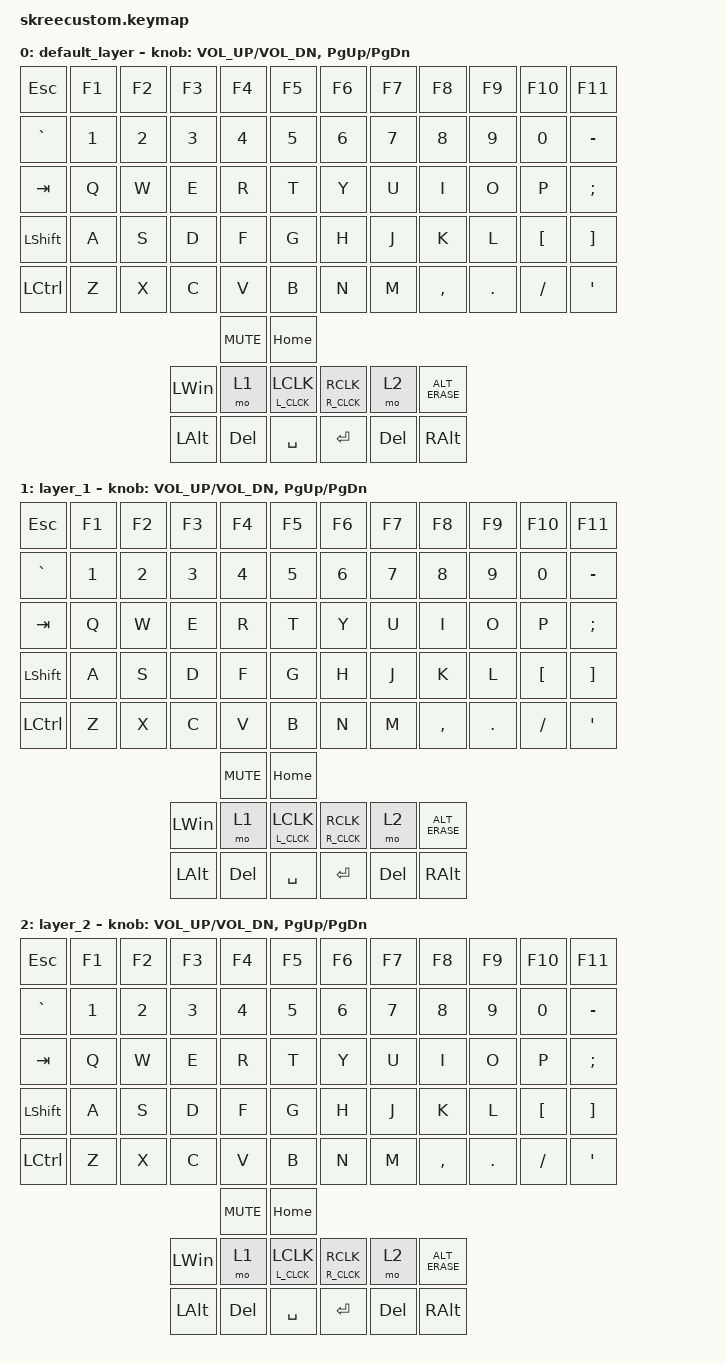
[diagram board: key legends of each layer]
/*
 * Copyright (c) 2020 The ZMK Contributors
 *
 * SPDX-License-Identifier: MIT
 */
//#include <behaviors/mouse_keys.dtsi>

#include <behaviors.dtsi>
#include <dt-bindings/zmk/keys.h>

/ {
    macros {
        MB1: MB1 {
            compatible = "zmk,behavior-macro";
            #binding-cells = <0>;
            bindings = <&L_CLCK LCLK>;
            label = "MB1";
        };

        RCLCK: RCLCK {
            compatible = "zmk,behavior-macro";
            #binding-cells = <0>;
            bindings = <&R_CLCK RCLK>;
            label = "RCLCK";
        };
    };

    behaviors {
        L_CLCK: L_CLCK {
            compatible = "zmk,behavior-mouse-key-press";
            label = "L_CLCK";
            #binding-cells = <1>;
        };

        R_CLCK: R_CLCK {
            compatible = "zmk,behavior-mouse-key-press";
            label = "R_CLCK";
            #binding-cells = <1>;
        };
    };

    keymap {
        compatible = "zmk,keymap";

        default_layer {
            bindings = <
&kp ESCAPE  &kp F1  &kp F2  &kp F3        &kp F4      &kp F5          &kp F6        &kp F7      &kp F8         &kp F9   &kp F10           &kp F11
&kp GRAVE   &kp N1  &kp N2  &kp N3        &kp N4      &kp N5          &kp N6        &kp N7      &kp N8         &kp N9   &kp N0            &kp MINUS
&kp TAB     &kp Q   &kp W   &kp E         &kp R       &kp T           &kp Y         &kp U       &kp I          &kp O    &kp P             &kp SEMICOLON
&kp LSHFT   &kp A   &kp S   &kp D         &kp F       &kp G           &kp H         &kp J       &kp K          &kp L    &kp LEFT_BRACKET  &kp RIGHT_BRACKET
&kp LCTRL   &kp Z   &kp X   &kp C         &kp V       &kp B           &kp N         &kp M       &kp COMMA      &kp DOT  &kp FSLH          &kp APOSTROPHE
                                          &kp C_MUTE  &kp HOME
                            &kp LEFT_WIN  &mo 1       &L_CLCK LCLK    &R_CLCK RCLK  &mo 2       &kp ALT_ERASE
                            &kp LEFT_ALT  &kp DELETE  &kp SPACE       &kp ENTER     &kp DELETE  &kp RIGHT_ALT
            >;

            sensor-bindings = <&inc_dec_kp C_VOL_UP C_VOL_DN &inc_dec_kp PG_UP PG_DN>;
        };

        layer_1 {
            bindings = <
&kp ESCAPE  &kp F1  &kp F2  &kp F3        &kp F4      &kp F5          &kp F6        &kp F7      &kp F8         &kp F9   &kp F10           &kp F11
&kp GRAVE   &kp N1  &kp N2  &kp N3        &kp N4      &kp N5          &kp N6        &kp N7      &kp N8         &kp N9   &kp N0            &kp MINUS
&kp TAB     &kp Q   &kp W   &kp E         &kp R       &kp T           &kp Y         &kp U       &kp I          &kp O    &kp P             &kp SEMICOLON
&kp LSHFT   &kp A   &kp S   &kp D         &kp F       &kp G           &kp H         &kp J       &kp K          &kp L    &kp LEFT_BRACKET  &kp RIGHT_BRACKET
&kp LCTRL   &kp Z   &kp X   &kp C         &kp V       &kp B           &kp N         &kp M       &kp COMMA      &kp DOT  &kp FSLH          &kp APOSTROPHE
                                          &kp C_MUTE  &kp HOME
                            &kp LEFT_WIN  &mo 1       &L_CLCK LCLK    &R_CLCK RCLK  &mo 2       &kp ALT_ERASE
                            &kp LEFT_ALT  &kp DELETE  &kp SPACE       &kp ENTER     &kp DELETE  &kp RIGHT_ALT
            >;

            sensor-bindings =
                <&inc_dec_kp C_VOL_UP C_VOL_DN>,
                <&inc_dec_kp PG_UP PG_DN>;
        };

        layer_2 {
            bindings = <
&kp ESCAPE  &kp F1  &kp F2  &kp F3        &kp F4      &kp F5          &kp F6        &kp F7      &kp F8         &kp F9   &kp F10           &kp F11
&kp GRAVE   &kp N1  &kp N2  &kp N3        &kp N4      &kp N5          &kp N6        &kp N7      &kp N8         &kp N9   &kp N0            &kp MINUS
&kp TAB     &kp Q   &kp W   &kp E         &kp R       &kp T           &kp Y         &kp U       &kp I          &kp O    &kp P             &kp SEMICOLON
&kp LSHFT   &kp A   &kp S   &kp D         &kp F       &kp G           &kp H         &kp J       &kp K          &kp L    &kp LEFT_BRACKET  &kp RIGHT_BRACKET
&kp LCTRL   &kp Z   &kp X   &kp C         &kp V       &kp B           &kp N         &kp M       &kp COMMA      &kp DOT  &kp FSLH          &kp APOSTROPHE
                                          &kp C_MUTE  &kp HOME
                            &kp LEFT_WIN  &mo 1       &L_CLCK LCLK    &R_CLCK RCLK  &mo 2       &kp ALT_ERASE
                            &kp LEFT_ALT  &kp DELETE  &kp SPACE       &kp ENTER     &kp DELETE  &kp RIGHT_ALT
            >;

            sensor-bindings =
                <&inc_dec_kp C_VOL_UP C_VOL_DN>,
                <&inc_dec_kp PG_UP PG_DN>;
        };
    };
};
